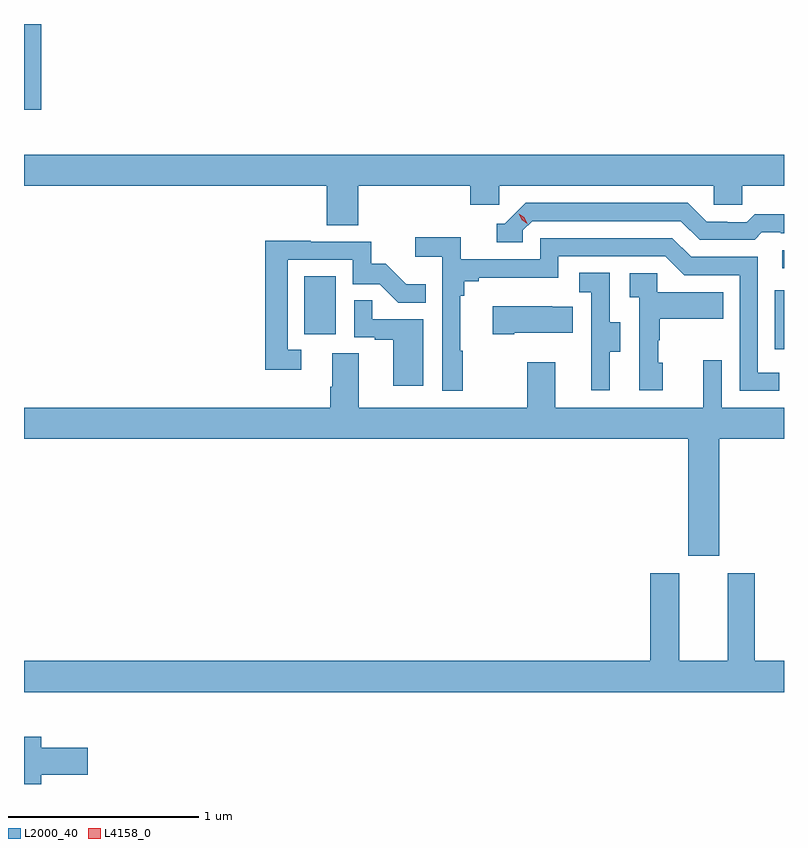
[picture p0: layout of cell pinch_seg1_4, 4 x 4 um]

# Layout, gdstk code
import gdstk
lib = gdstk.Library(unit=1e-6, precision=1e-09)
def R(c, l, rs):  # rectangles x0, y0, x1, y1
    for r in rs: c.add(gdstk.rectangle(r[:2], r[2:], *l))
def P(c, l, *ps):  # polygons
    for p in ps: c.add(gdstk.Polygon(p, *l))
L2000_40 = (2000, 40)
L4158_0 = (4158, 0)

pinch_seg1_4 = lib.new_cell('pinch_seg1_4')
R(pinch_seg1_4, L2000_40, [(1099.974,574.848,1100.022,575.158), (1097.498,574.926,1097.662,575.233), (1100.013,575.274,1100.022,575.37), (1096.022,576.108,1096.114,576.56)])
P(pinch_seg1_4, L2000_40, [(1097.78,575.708),(1098.371,575.708),(1098.371,575.61),(1098.522,575.61),(1098.522,575.708),(1099.653,575.708),(1099.653,575.61),(1099.803,575.61),(1099.803,575.708),(1100.022,575.708),(1100.022,575.872),(1096.022,575.872),(1096.022,575.708),(1097.615,575.708),(1097.615,575.5),(1097.78,575.5)],
  [(1098.648,575.475),(1098.696,575.523),(1099.479,575.523),(1099.578,575.424),(1099.867,575.424),(1099.906,575.463),(1100.005,575.463),(1100.005,575.46),(1100.022,575.46),(1100.022,575.56),(1099.867,575.56),(1099.825,575.517),(1099.722,575.517),(1099.722,575.52),(1099.615,575.52),(1099.516,575.619),(1098.663,575.619),(1098.552,575.508),(1098.509,575.508),(1098.509,575.412),(1098.648,575.412)],
  [(1098.331,574.841),(1098.319,574.841),(1098.319,575.129),(1098.338,575.129),(1098.338,575.206),(1098.415,575.206),(1098.415,575.225),(1098.834,575.225),(1098.834,575.337),(1099.398,575.337),(1099.497,575.238),(1099.788,575.238),(1099.788,574.629),(1099.997,574.629),(1099.997,574.725),(1099.884,574.725),(1099.884,575.334),(1099.534,575.334),(1099.435,575.433),(1098.738,575.433),(1098.738,575.322),(1098.32,575.322),(1098.32,575.438),(1098.081,575.438),(1098.081,575.336),(1098.222,575.336),(1098.222,574.629),(1098.331,574.629)],
  [(1097.482,574.845),(1097.409,574.845),(1097.409,575.319),(1097.751,575.319),(1097.751,575.19),(1097.895,575.19),(1097.993,575.092),(1098.137,575.092),(1098.137,575.191),(1098.033,575.191),(1097.926,575.298),(1097.85,575.298),(1097.85,575.415),(1097.531,575.415),(1097.531,575.42),(1097.293,575.42),(1097.293,574.74),(1097.482,574.74)],
  [(1099.105,574.834),(1099.159,574.834),(1099.159,574.989),(1099.104,574.989),(1099.104,575.252),(1098.945,575.252),(1098.945,575.149),(1099.008,575.149),(1099.008,574.845),(1099.007,574.845),(1099.007,574.632),(1099.105,574.632)],
  [(1099.384,574.776),(1099.359,574.776),(1099.359,574.895),(1099.369,574.895),(1099.369,575.009),(1099.703,575.009),(1099.703,575.149),(1099.356,575.149),(1099.356,575.247),(1099.209,575.247),(1099.209,575.123),(1099.26,575.123),(1099.26,574.632),(1099.384,574.632)],
  [(1098.124,575.007),(1097.855,575.007),(1097.855,575.105),(1097.76,575.105),(1097.76,574.911),(1097.867,574.911),(1097.867,574.899),(1097.966,574.899),(1097.966,574.656),(1098.124,574.656)],
  [(1098.601,574.934),(1098.911,574.934),(1098.911,575.071),(1098.803,575.071),(1098.803,575.074),(1098.489,575.074),(1098.489,574.927),(1098.601,574.927)],
  [(1099.681,574.376),(1100.022,574.376),(1100.022,574.54),(1099.695,574.54),(1099.695,574.789),(1099.598,574.789),(1099.598,574.54),(1098.817,574.54),(1098.817,574.78),(1098.67,574.78),(1098.67,574.54),(1097.785,574.54),(1097.785,574.826),(1097.645,574.826),(1097.645,574.652),(1097.633,574.652),(1097.633,574.54),(1096.022,574.54),(1096.022,574.376),(1099.517,574.376),(1099.517,573.762),(1099.681,573.762)],
  [(1100.022,573.208),(1099.867,573.208),(1099.867,573.67),(1099.727,573.67),(1099.727,573.208),(1099.471,573.208),(1099.471,573.67),(1099.319,573.67),(1099.319,573.208),(1096.022,573.208),(1096.022,573.044),(1100.022,573.044)],
  [(1096.114,572.609),(1096.357,572.609),(1096.357,572.751),(1096.114,572.751),(1096.114,572.809),(1096.022,572.809),(1096.022,572.56),(1096.114,572.56)])
P(pinch_seg1_4, L4158_0, [(1098.671,575.508),(1098.641,575.529),(1098.626,575.562),(1098.626,575.562),(1098.626,575.562),(1098.656,575.542),(1098.671,575.509),(1098.671,575.508)])

lib.write_gds('pinch_seg1_4.gds')
